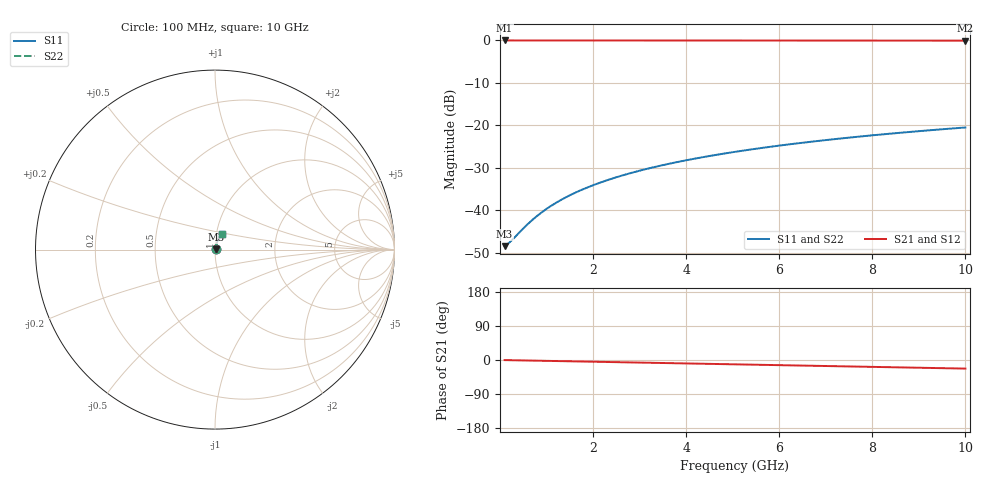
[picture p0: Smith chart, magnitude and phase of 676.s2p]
# Hz S RI R 50.00
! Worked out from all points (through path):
!   100 points, 100 MHz to 10 GHz, reference 50 ohm
!   highest |S21| = -0.03 dB at 100 MHz (marker M1); lowest = -0.1 dB at 10 GHz (marker M2)
!   group delay of S21, straight-line fit = 6.3 ps
!   lowest |S11| = -48.4 dB at 100 MHz (marker M3), VSWR 1.01, Z = 50.4 + j0.0964 ohm
!   |S11| at or under -10 dB: start of sweep to end of sweep
!   |S22| runs from -48.4 to -20.5 dB; largest |S21 - S12| = 0
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1e8  0.00368 0.000957  0.9963 -0.00394  0.9963 -0.00394  0.00368 0.000957
2e8  0.00371 0.00191  0.9963 -0.00789  0.9963 -0.00789  0.00371 0.00191
6e8  0.00389 0.00574  0.9959 -0.0237  0.9959 -0.0237  0.00389 0.00574
7e8  0.00394 0.00669  0.9958 -0.0276  0.9958 -0.0276  0.00394 0.00669
9e8  0.00408 0.0086  0.9955 -0.0355  0.9955 -0.0355  0.00408 0.0086
1.1e9  0.00425 0.0105  0.9952 -0.0434  0.9952 -0.0434  0.00425 0.0105
1.3e9  0.00444 0.0124  0.9948 -0.0512  0.9948 -0.0512  0.00444 0.0124
1.5e9  0.00466 0.0143  0.9943 -0.0591  0.9943 -0.0591  0.00466 0.0143
1.8e9  0.00505 0.0172  0.9935 -0.0709  0.9935 -0.0709  0.00505 0.0172
2.1e9  0.0055 0.02  0.9925 -0.0827  0.9925 -0.0827  0.0055 0.02
2.5e9  0.00621 0.0237  0.9909 -0.0984  0.9909 -0.0984  0.00621 0.0237
2.9e9  0.00704 0.0275  0.9891 -0.114  0.9891 -0.114  0.00704 0.0275
3.4e9  0.00824 0.0321  0.9865 -0.1336  0.9865 -0.1336  0.00824 0.0321
3.8e9  0.00933 0.0358  0.9841 -0.1492  0.9841 -0.1492  0.00933 0.0358
4.2e9  0.0105 0.0394  0.9815 -0.1647  0.9815 -0.1647  0.0105 0.0394
4.6e9  0.0119 0.043  0.9785 -0.1802  0.9785 -0.1802  0.0119 0.043
5.1e9  0.0137 0.0474  0.9745 -0.1995  0.9745 -0.1995  0.0137 0.0474
5.9e9  0.0169 0.0543  0.9673 -0.2301  0.9673 -0.2301  0.0169 0.0543
6.7e9  0.0206 0.061  0.9591 -0.2605  0.9591 -0.2605  0.0206 0.061
7.5e9  0.0247 0.0674  0.9498 -0.2906  0.9498 -0.2906  0.0247 0.0674
8.4e9  0.0298 0.0743  0.9383 -0.324  0.9383 -0.324  0.0298 0.0743
1e10  0.04 0.0856  0.9147 -0.3821  0.9147 -0.3821  0.04 0.0856
